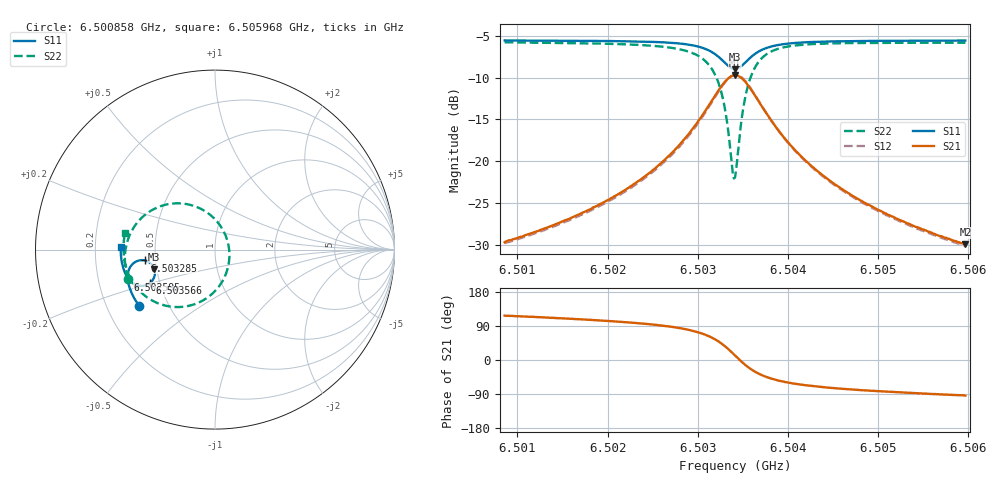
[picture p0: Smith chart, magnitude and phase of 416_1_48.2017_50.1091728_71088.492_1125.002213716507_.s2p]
#  HZ  S  RI  R  50.00
! Rohde & Schwarz Vector Network Analyzer
! Rohde-Schwarz,ZNB20-2Port,1311601062101988,3.16
! Created: UTC 3/20/2024, 11:54:43 AM
! freq[Hz]  re:S11  im:S11  re:S21  im:S21  re:S12  im:S12  re:S22  im:S22
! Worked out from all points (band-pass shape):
!   401 points, 6.500858 GHz to 6.505968 GHz, reference 50 ohm
!   highest |S21| = -9.74 dB at 6.503413 GHz (marker M1); lowest = -29.9 dB at 6.505968 GHz (marker M2)
!   |S21| within 3 dB of the highest: 6.503158 GHz to 6.503669 GHz (510.8 kHz wide, 0.00785 % of centre)
!   lowest |S11| = -9.0 dB at 6.503413 GHz (marker M3), VSWR 2.10, Z = 24.2 - j6.02 ohm
!   |S11| at or under -10 dB: nowhere
!   |S22| runs from -22.0 to -5.8 dB; largest |S21 - S12| = 0.011
!   S11 on the Smith chart (normalised r, x): 6.500858 GHz: 0.34, -0.30; 6.502595 GHz: 0.33, -0.15; 6.503285 GHz: 0.44, -0.06; 6.503566 GHz: 0.44, -0.20; 6.505968 GHz: 0.31, +0.01
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6.5008576e9  -0.422 -0.3149  -0.0149 0.0293  -0.0133 0.0296  -0.4867 -0.163
6.5017136e9  -0.4593 -0.2525  -0.0146 0.0469  -0.0121 0.0465  -0.5016 -0.0736
6.5021863e9  -0.4763 -0.2111  -0.0116 0.0661  -0.00869 0.065  -0.4994 -0.0078
6.5025696e9  -0.4857 -0.1693  -0.003 0.095  0.000536 0.0929  -0.481 0.0674
6.5025951e9  -0.4861 -0.1661  -0.00195 0.0977  0.00186 0.0954  -0.4784 0.0734
6.502889e9  -0.4829 -0.1216  0.0248 0.1411  0.0285 0.1369  -0.4232 0.1622
6.5030806e9  -0.4622 -0.0834  0.0779 0.1829  0.0804 0.1769  -0.3217 0.2347
6.5031956e9  -0.4304 -0.0626  0.1461 0.2008  0.1468 0.1945  -0.1991 0.2578
6.503285e9  -0.3903 -0.0604  0.2248 0.1855  0.2249 0.1804  -0.0633 0.219
6.5033234e9  -0.3712 -0.0678  0.2608 0.1629  0.2614 0.1584  -0.00385 0.1732
6.5033872e9  -0.3446 -0.0939  0.3086 0.0998  0.3109 0.095  0.0684 0.0521
6.5034128e9  -0.338 -0.1084  0.3188 0.068  0.322 0.0624  0.0796 -0.00733
6.5034383e9  -0.3349 -0.124  0.3228 0.0346  0.326 0.0279  0.0781 -0.0681
6.5035022e9  -0.3418 -0.1608  0.3051 -0.0428  0.3074 -0.0526  0.0242 -0.2027
6.5035661e9  -0.3628 -0.1867  0.2628 -0.097  0.2619 -0.1079  -0.0713 -0.2855
6.5036683e9  -0.4021 -0.202  0.1889 -0.133  0.1837 -0.1425  -0.2202 -0.3199
6.5038344e9  -0.448 -0.1923  0.1078 -0.1303  0.1009 -0.1354  -0.3663 -0.2742
6.5040133e9  -0.4753 -0.1711  0.0635 -0.1106  0.0575 -0.1129  -0.4381 -0.21
6.5042688e9  -0.496 -0.141  0.0338 -0.0867  0.0291 -0.0872  -0.4814 -0.1384
6.5047032e9  -0.5129 -0.0965  0.0134 -0.0615  0.0103 -0.061  -0.505 -0.0556
6.5051248e9  -0.521 -0.058  0.00509 -0.0474  0.00281 -0.0466  -0.5098 0.00203
6.505968e9  -0.5258 0.0132  -0.00215 -0.0319  -0.00332 -0.031  -0.5019 0.0902
